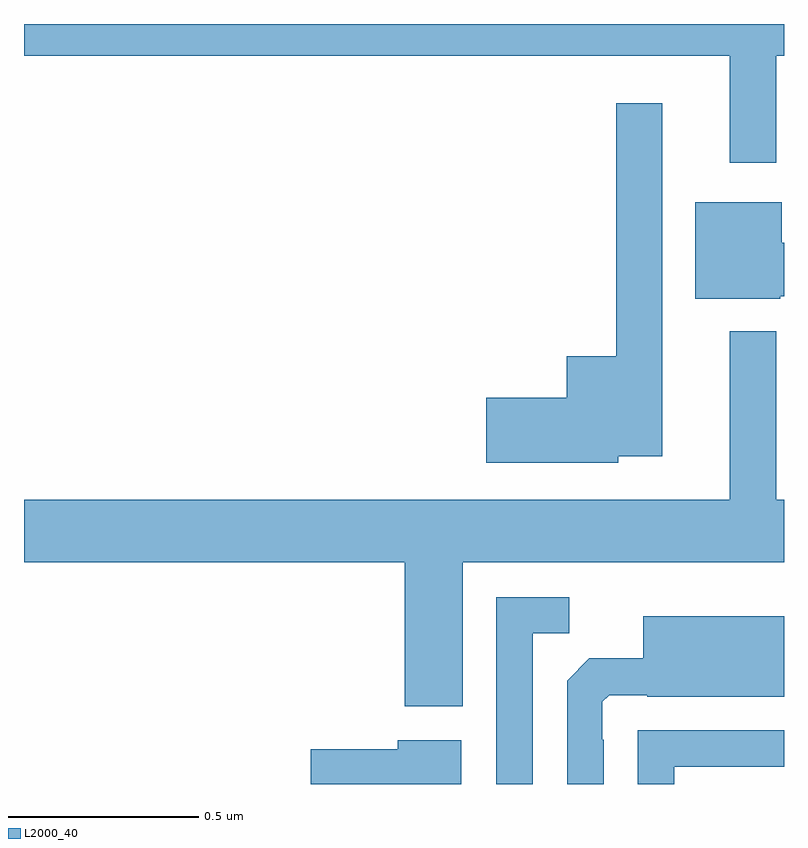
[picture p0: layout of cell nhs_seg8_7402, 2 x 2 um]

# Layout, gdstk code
import gdstk
lib = gdstk.Library(unit=1e-6, precision=1e-09)
def P(c, l, *ps):  # polygons
    for p in ps: c.add(gdstk.Polygon(p, *l))
L2000_40 = (2000, 40)

nhs_seg8_7402 = lib.new_cell('nhs_seg8_7402')
P(nhs_seg8_7402, L2000_40, [(210.979,1133.816),(211,1133.816),(211,1133.9),(209,1133.9),(209,1133.816),(210.857,1133.816),(210.857,1133.535),(210.979,1133.535)],
  [(210.564,1132.763),(210.679,1132.763),(210.679,1133.692),(210.558,1133.692),(210.558,1133.026),(210.428,1133.026),(210.428,1132.916),(210.216,1132.916),(210.216,1132.745),(210.564,1132.745)],
  [(210.99,1133.183),(211,1133.183),(211,1133.325),(210.994,1133.325),(210.994,1133.431),(210.767,1133.431),(210.767,1133.177),(210.99,1133.177)],
  [(210.154,1132.484),(211,1132.484),(211,1132.648),(210.979,1132.648),(210.979,1133.092),(210.857,1133.092),(210.857,1132.648),(209,1132.648),(209,1132.484),(210.002,1132.484),(210.002,1132.104),(210.154,1132.104)],
  [(210.339,1132.297),(210.435,1132.297),(210.435,1132.392),(210.243,1132.392),(210.243,1131.9),(210.339,1131.9)],
  [(210.525,1132.016),(210.522,1132.016),(210.522,1132.116),(210.54,1132.134),(210.64,1132.134),(210.64,1132.13),(211,1132.13),(211,1132.342),(210.629,1132.342),(210.629,1132.231),(210.488,1132.231),(210.429,1132.172),(210.429,1131.9),(210.525,1131.9)],
  [(210.711,1131.945),(211,1131.945),(211,1132.041),(210.615,1132.041),(210.615,1131.9),(210.711,1131.9)],
  [(210.151,1132.015),(209.984,1132.015),(209.984,1131.992),(209.754,1131.992),(209.754,1131.9),(210.151,1131.9)])

lib.write_gds('nhs_seg8_7402.gds')
